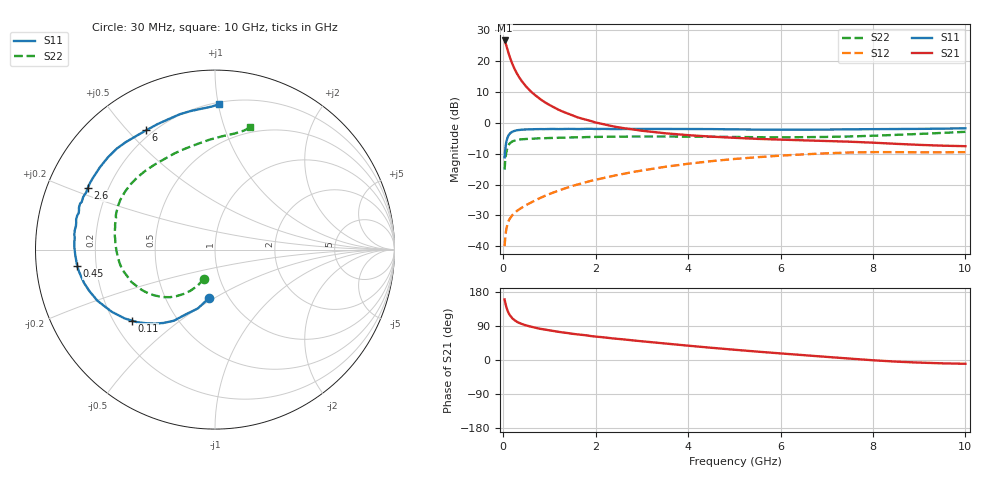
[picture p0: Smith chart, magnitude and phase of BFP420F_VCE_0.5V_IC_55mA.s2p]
! Infineon Technologies  Discrete & RF Semiconductors
! BFP420F
! VCE =  0.5 V,  IC =  55 mA
! Common Emitter S-Parameters:  Sep 2011
# GHz  S  MA  R  50
!  f  S11  S21  S12  S22
! GHz  MAG  ANG  MAG  ANG  MAG  ANG  MAG  ANG
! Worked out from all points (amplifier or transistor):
!   54 points, 30 MHz to 10 GHz, reference 50 ohm
!   highest |S21| = 26.5 dB at 30 MHz (marker M1)
!   |S21| within 3 dB of that: start of sweep to 93.22 MHz
!   unconditionally stable (mu >= 1): start of sweep to 98.41 MHz; 320.8 MHz to end of sweep
!   at 120 MHz: K = 0.95, MSG = 26.9 dB, |S12| = -31.7 dB
!   at 1.3 GHz: K = 1.46, MAG = 8.4 dB, |S12| = -21.4 dB
!   at 10 GHz: K = 1.26, MAG = -2.1 dB, |S12| = -9.5 dB
!   S11 on the Smith chart (normalised r, x): 30 MHz: 0.81, -0.47; 110 MHz: 0.27, -0.34; 450 MHz: 0.13, -0.06; 2.6 GHz: 0.12, +0.23; 6 GHz: 0.17, +0.56; 10 GHz: 0.21, +1.00
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0.03  0.2737 -97.3  21.2 159.7  0.0101 68.9  0.1736 -110.7
0.04  0.3419 -106.3  20.27 153.6  0.0128 65.9  0.2252 -115.9
0.06  0.4576 -120.0  18.23 143.3  0.0175 60.7  0.306 -125.7
0.08  0.5323 -129.2  16.22 135.1  0.0211 55.9  0.3647 -133.4
0.1  0.5924 -136.9  14.45 128.4  0.0238 52.5  0.4069 -140.2
0.11  0.6096 -139.6  13.66 125.8  0.0251 51.4  0.423 -142.9
0.13  0.6445 -144.8  12.21 120.8  0.027 49.0  0.4491 -147.8
0.15  0.6719 -149.0  11.03 117.1  0.0287 47.7  0.4671 -151.5
0.2  0.7144 -156.5  8.777 109.6  0.0322 45.2  0.499 -158.7
0.25  0.7369 -161.7  7.224 104.6  0.0348 44.7  0.5121 -163.5
0.3  0.7529 -165.7  6.145 100.6  0.0376 44.7  0.5261 -167.2
0.45  0.7726 -173.2  4.207 93.0  0.0445 46.4  0.5406 -174.5
0.6  0.7791 -177.8  3.168 88.0  0.0511 49.0  0.549 -179.3
0.9  0.7842 175.4  2.131 80.4  0.0654 52.1  0.5597 173.7
1.7  0.7886 163.9  1.161 66.4  0.1044 53.9  0.5793 162.1
2.6  0.7883 154.1  0.815 54.4  0.1486 50.8  0.5934 154.2
3.5  0.7885 144.6  0.673 43.6  0.1929 44.9  0.5962 146.9
5.5  0.7704 124.9  0.546 22.1  0.2761 27.7  0.5808 125.3
6  0.7672 120.0  0.531 17.4  0.2928 23.3  0.5781 118.9
7  0.7717 109.3  0.504 8.2  0.3193 14.1  0.5871 105.9
8.5  0.7872 96.5  0.454 -4.3  0.333 1.1  0.6337 86.1
10  0.8097 88.5  0.416 -10.0  0.3332 -5.9  0.7092 73.9
